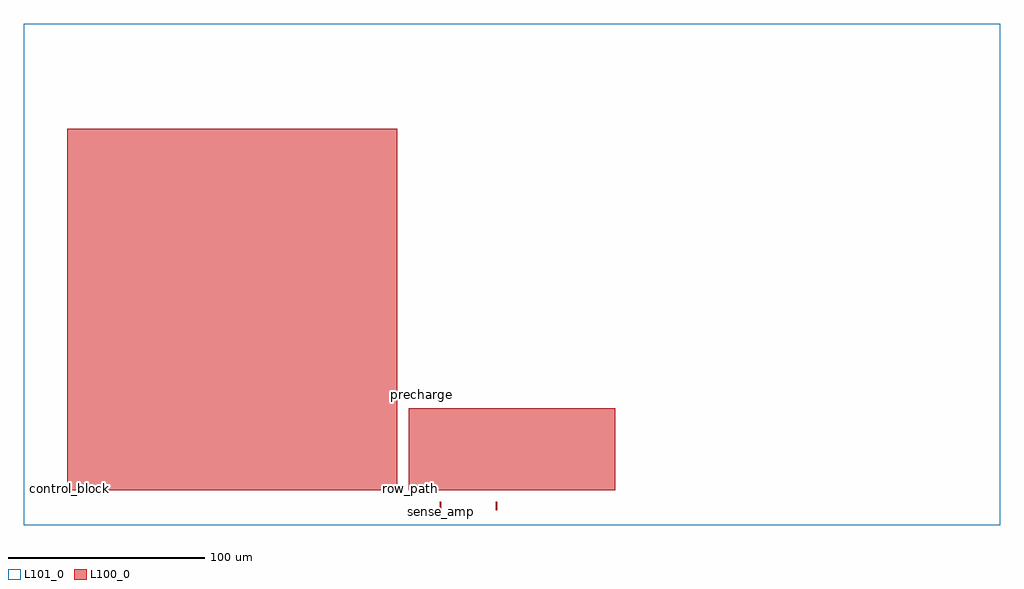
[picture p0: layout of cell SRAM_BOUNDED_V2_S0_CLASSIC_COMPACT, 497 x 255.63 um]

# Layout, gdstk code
import gdstk
lib = gdstk.Library(unit=1e-6, precision=1e-09)
def R(c, l, rs):  # rectangles x0, y0, x1, y1
    for r in rs: c.add(gdstk.rectangle(r[:2], r[2:], *l))
L100_0 = (100, 0)
L101_0 = (101, 0)

sram_bounded_v2_s0_class = lib.new_cell('SRAM_BOUNDED_V2_S0_CLASSIC_COMPACT')
R(sram_bounded_v2_s0_class, L100_0, [(15.75,-12.01,16.525,-6), (44.101,-10.175,44.941,-6), (-174,0,-6,184), (0,0,105.003,41.62), (5.25,47.62,5.963,49.01)])
R(sram_bounded_v2_s0_class, L101_0, [(-196,-18.01,301.002,237.62)])
sram_bounded_v2_s0_class.add(gdstk.Label('row_path', (1,1), layer=11, texttype=2))
sram_bounded_v2_s0_class.add(gdstk.Label('precharge', (6.25,48.62), layer=11, texttype=2))
sram_bounded_v2_s0_class.add(gdstk.Label('sense_amp', (16.75,-11.01), layer=11, texttype=2))
sram_bounded_v2_s0_class.add(gdstk.Label('write_driver', (45.101,-9.175), layer=11, texttype=2))
sram_bounded_v2_s0_class.add(gdstk.Label('control_block', (-173,1), layer=11, texttype=2))

lib.write_gds('SRAM_BOUNDED_V2_S0_CLASSIC_COMPACT.gds')
